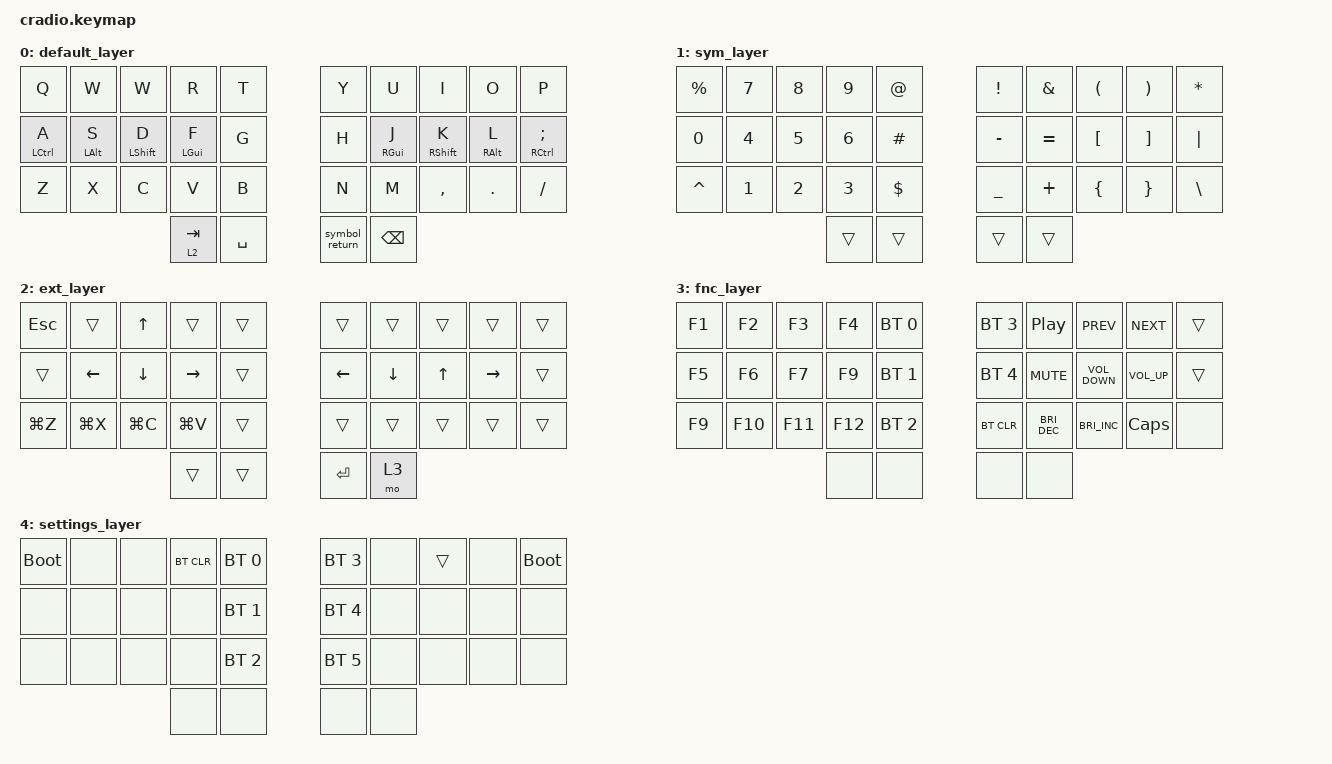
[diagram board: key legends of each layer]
/*
 * Copyright (c) 2020 The ZMK Contributors
 *
 * SPDX-License-Identifier: MIT
 */

#include "keymap_italian.h"
#include <behaviors.dtsi>
#include <dt-bindings/zmk/bt.h>
#include <dt-bindings/zmk/keys.h>

// Layer definitions

#define BASE 0
#define SYM 1
#define EXT 2
#define FNC 3
#define SYM2 4
#define ACCENT 5
#define SETTINGS 6

// -----------------

&mt { flavor = "tap-preferred"; };

/ {
    macros {
        // sometimes my device thinks a modifier is being held down
        // pressing all modifiers fixes it.
    };

    combos {
        compatible = "zmk,combos";

        // both right thumb keys
        // internal-left & external-right thumb keys
        // both left thumb keys

        single_quote {
            bindings = <&kp SQT>;
            key-positions = <17 16>;
            layers = <0>;
        };

        double_quote {
            bindings = <&kp DOUBLE_QUOTES>;
            key-positions = <6 7>;
            layers = <0>;
        };

        esc {
            bindings = <&kp ESC>;
            key-positions = <11 12>;
            layers = <0>;
        };

        word_forward_del {
            bindings = <&kp LA(DEL)>;
            key-positions = <7 8>;
            layers = <1>;
        };

        tilde {
            bindings = <&kp TILDE>;
            key-positions = <3 2>;
        };

        grave {
            bindings = <&kp GRAVE>;
            key-positions = <12 13>;
        };

        caps_words {
            bindings = <&caps_word>;
            key-positions = <21 22>;
        };
    };

    behaviors {
        semicolon_quote: semicolon_quote {
            compatible = "zmk,behavior-tap-dance";
            label = "SEMICOLON_QUOTE";
            #binding-cells = <0>;
            bindings = <&kp SEMICOLON>, <&kp SQT>;
        };

        left_hold_tap: left_hold_tap {
            compatible = "zmk,behavior-hold-tap";
            label = "LEFT_HOLD_TAP";
            bindings = <&kp>, <&kp>;

            #binding-cells = <2>;
            tapping-term-ms = <200>;
            flavor = "tap-preferred";
            hold-trigger-key-positions = <5 15 25 26 27 28 29 18 17 16 7 6 8 9 19 32 33>;
        };

        right_hold_tap: right_hold_tap {
            compatible = "zmk,behavior-hold-tap";
            label = "RIGHT_HOLD_TAP";
            bindings = <&kp>, <&kp>;

            #binding-cells = <2>;
            tapping-term-ms = <200>;
            flavor = "tap-preferred";
            hold-trigger-key-positions = <0 10 20 21 11 1 2 12 22 23 13 3 4 14 24 31 30>;
        };

        symbol_return: symbol_return {
            compatible = "zmk,behavior-tap-dance";
            label = "SYMBOL_RETURN";
            #binding-cells = <0>;
            bindings = <&mo 1>, <&kp ENTER>;
        };
    };

    keymap {
        compatible = "zmk,keymap";

        // Base alpha layer

        default_layer {
            bindings = <
&kp Q        &kp W           &kp W             &kp R           &kp T        &kp Y           &kp U            &kp I              &kp O            &kp P
&mt LCTRL A  &mt LEFT_ALT S  &mt LEFT_SHIFT D  &mt LEFT_GUI F  &kp G        &kp H           &mt RIGHT_GUI J  &mt RIGHT_SHIFT K  &mt RIGHT_ALT L  &mt RCTRL SEMICOLON
&kp Z        &kp X           &kp C             &kp V           &kp B        &kp N           &kp M            &kp COMMA          &kp DOT          &kp SLASH
                                               &lt 2 TAB       &kp SPACE    &symbol_return  &kp BACKSPACE
            >;
        };

        // Numbers and high frequency symbols

        sym_layer {
            bindings = <
&kp PERCENT   &kp NUMBER_7  &kp NUMBER_8  &kp NUMBER_9  &kp AT_SIGN    &kp EXCLAMATION  &kp AMPERSAND  &kp LEFT_PARENTHESIS  &kp RIGHT_PARENTHESIS  &kp ASTERISK
&kp NUMBER_0  &kp NUMBER_4  &kp NUMBER_5  &kp NUMBER_6  &kp HASH       &kp MINUS        &kp EQUAL      &kp LEFT_BRACKET      &kp RIGHT_BRACKET      &kp PIPE
&kp CARET     &kp NUMBER_1  &kp NUMBER_2  &kp NUMBER_3  &kp DOLLAR     &kp UNDERSCORE   &kp PLUS       &kp LEFT_BRACE        &kp RIGHT_BRACE        &kp BACKSLASH
                                          &trans        &trans         &trans           &trans
            >;
        };

        // Main modifiers and arrow keys

        ext_layer {
            bindings = <
&kp ESC    &trans     &kp UP     &trans     &trans    &trans          &trans          &trans        &trans     &trans
&trans     &kp LEFT   &kp DOWN   &kp RIGHT  &trans    &kp LEFT_ARROW  &kp DOWN_ARROW  &kp UP_ARROW  &kp RIGHT  &trans
&kp LG(Z)  &kp LG(X)  &kp LG(C)  &kp LG(V)  &trans    &trans          &trans          &trans        &trans     &trans
                                 &trans     &trans    &kp ENTER       &mo 3
            >;
        };

        // Function keys with modifiers

        fnc_layer {
            bindings = <
&kp F1  &kp F2   &kp F3   &kp F4   &bt BT_SEL 0    &bt BT_SEL 3  &kp C_PLAY_PAUSE      &kp C_PREV            &kp C_NEXT       &trans
&kp F5  &kp F6   &kp F7   &kp F9   &bt BT_SEL 1    &bt BT_SEL 4  &kp K_MUTE            &kp C_VOLUME_DOWN     &kp C_VOLUME_UP  &trans
&kp F9  &kp F10  &kp F11  &kp F12  &bt BT_SEL 2    &bt BT_CLR    &kp C_BRIGHTNESS_DEC  &kp C_BRIGHTNESS_INC  &kp CAPS         &none
                          &none    &none           &none         &none
            >;
        };

        // Low frequency symbols.
        // Used to type regional accents.
        // Used to change the keyboard's settings.

        settings_layer {
            bindings = <
&bootloader  &none  &none  &bt BT_CLR  &bt BT_SEL 0    &bt BT_SEL 3  &none  &trans  &none  &bootloader
&none        &none  &none  &none       &bt BT_SEL 1    &bt BT_SEL 4  &none  &none   &none  &none
&none        &none  &none  &none       &bt BT_SEL 2    &bt BT_SEL 5  &none  &none   &none  &none
                           &none       &none           &none         &none
            >;
        };
    };
};
